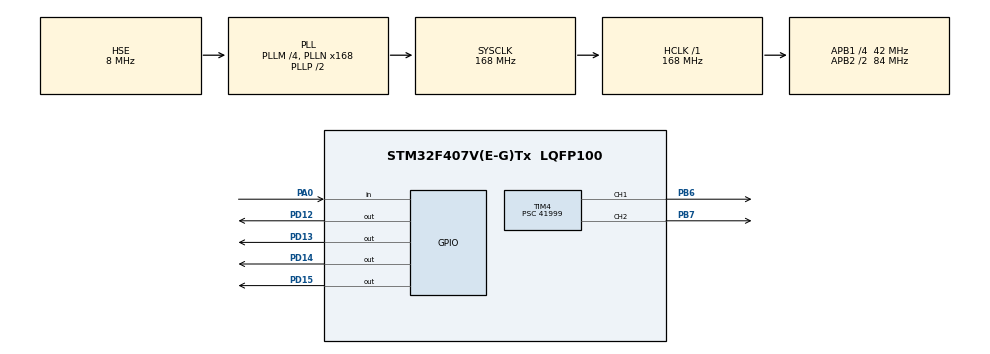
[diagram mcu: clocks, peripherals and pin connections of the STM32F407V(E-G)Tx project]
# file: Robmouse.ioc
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Mcu.Family=STM32F4
Mcu.Name=STM32F407V(E-G)Tx
Mcu.Package=LQFP100
NVIC.FLASH_IRQn=true\:0\:0\:false\:false\:true\:true\:true
NVIC.FPU_IRQn=true\:0\:0\:false\:false\:true\:true\:false
NVIC.PVD_IRQn=true\:0\:0\:false\:false\:true\:true\:true
NVIC.PriorityGroup=NVIC_PRIORITYGROUP_4
NVIC.RCC_IRQn=true\:0\:0\:false\:false\:true\:true\:false
NVIC.TIM4_IRQn=true\:0\:0\:false\:false\:true\:true\:true
PA0-WKUP.Signal=GPIO_Input
PB6.Signal=S_TIM4_CH1
PB7.Signal=S_TIM4_CH2
PD12.Signal=GPIO_Output
PD13.Signal=GPIO_Output
PD14.Signal=GPIO_Output
PD15.Signal=GPIO_Output
PH0-OSC_IN.Mode=HSE-External-Oscillator
PH0-OSC_IN.Signal=RCC_OSC_IN
PH1-OSC_OUT.Mode=HSE-External-Oscillator
PH1-OSC_OUT.Signal=RCC_OSC_OUT
ProjectManager.HeapSize=0x200
ProjectManager.StackSize=0x400
ProjectManager.TargetToolchain=SW4STM32
RCC.48MHZClocksFreq_Value=84000000
RCC.AHBFreq_Value=168000000
RCC.APB1CLKDivider=RCC_HCLK_DIV4
RCC.APB1Freq_Value=42000000
RCC.APB1TimFreq_Value=84000000
RCC.APB2CLKDivider=RCC_HCLK_DIV2
RCC.APB2Freq_Value=84000000
RCC.APB2TimFreq_Value=168000000
RCC.CortexFreq_Value=168000000
RCC.HCLKFreq_Value=168000000
RCC.HSE_VALUE=8000000
RCC.HSI_VALUE=16000000
RCC.LSE_VALUE=32768
RCC.PLLM=4
RCC.PLLN=168
RCC.PLLSourceVirtual=RCC_PLLSOURCE_HSE
RCC.SYSCLKFreq_VALUE=168000000
RCC.SYSCLKSource=RCC_SYSCLKSOURCE_PLLCLK
RCC.VCOOutputFreq_Value=336000000
SH.S_TIM4_CH1.0=TIM4_CH1,PWM Generation1 CH1
SH.S_TIM4_CH2.0=TIM4_CH2,PWM Generation2 CH2
TIM4.Channel-PWM\ Generation1\ CH1=TIM_CHANNEL_1
TIM4.Channel-PWM\ Generation2\ CH2=TIM_CHANNEL_2
TIM4.Period=1999
TIM4.Prescaler=41999
VP_TIM4_VS_ClockSourceINT.Mode=Internal
board=custom

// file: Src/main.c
/* USER CODE BEGIN Header */
/**
  ******************************************************************************
  * @file           : main.c
  * @brief          : Main program body
  ******************************************************************************
  * @attention
  *
  * <h2><center>&copy; Copyright (c) 2019 STMicroelectronics.
  * All rights reserved.</center></h2>
  *
  * This software component is licensed by ST under BSD 3-Clause license,
  * the "License"; You may not use this file except in compliance with the
  * License. You may obtain a copy of the License at:
  *                        opensource.org/licenses/BSD-3-Clause
  *
  ******************************************************************************
  */
/* USER CODE END Header */

#include "main.h"

TIM_HandleTypeDef htim4;

/* USER CODE BEGIN PV */
volatile int value = 0;
volatile int temp = 0;
/* USER CODE END PV */

void SystemClock_Config(void);
static void MX_GPIO_Init(void);
static void MX_TIM4_Init(void);
/* USER CODE BEGIN PFP */

void HAL_TIM_PeriodElapsedCallback(TIM_HandleTypeDef *htim){
       if(htim->Instance == TIM4)
       {

         }
}

/* USER CODE END PFP */

int main(void)
{

  /* MCU Configuration--------------------------------------------------------*/

  /* Reset of all peripherals, Initializes the Flash interface and the Systick. */
  HAL_Init();

  /* Configure the system clock */
  SystemClock_Config();

  /* Initialize all configured peripherals */
  MX_GPIO_Init();
  MX_TIM4_Init();
  /* USER CODE BEGIN 2 */
  HAL_TIM_Base_Start_IT(&htim4);
  HAL_TIM_PWM_Start(&htim4, TIM_CHANNEL_1);
  HAL_TIM_PWM_Start(&htim4, TIM_CHANNEL_2);

  TIM4->CCR1 = 1999;
  TIM4->CCR2 = 1999;
  /* USER CODE END 2 */

  /* Infinite loop */
  /* USER CODE BEGIN WHILE */
  while (1)
  {
	 value = HAL_GPIO_ReadPin(GPIOA, GPIO_PIN_0);
	  if(value==0)
	  {
		  HAL_GPIO_WritePin(GPIOD, GPIO_PIN_12 | GPIO_PIN_15,GPIO_PIN_SET);
		  HAL_GPIO_WritePin(GPIOD, GPIO_PIN_13 | GPIO_PIN_14,GPIO_PIN_RESET);
		  for(int i =0;i<5000000;i++){}
	  }
	  if(value==1)
	  	  {
	  		  HAL_GPIO_WritePin(GPIOD, GPIO_PIN_12 | GPIO_PIN_15, GPIO_PIN_RESET);
	  		  HAL_GPIO_WritePin(GPIOD, GPIO_PIN_13 | GPIO_PIN_14,GPIO_PIN_SET);
	  		  for(int i =0;i<5000000;i++){}
	  	  }
    /* USER CODE END WHILE */

  }
}

void SystemClock_Config(void)
{
  RCC_OscInitTypeDef RCC_OscInitStruct = {0};
  RCC_ClkInitTypeDef RCC_ClkInitStruct = {0};

  /** Configure the main internal regulator output voltage
  */
  __HAL_RCC_PWR_CLK_ENABLE();
  __HAL_PWR_VOLTAGESCALING_CONFIG(PWR_REGULATOR_VOLTAGE_SCALE1);
  /** Initializes the CPU, AHB and APB busses clocks
  */
  RCC_OscInitStruct.OscillatorType = RCC_OSCILLATORTYPE_HSE;
  RCC_OscInitStruct.HSEState = RCC_HSE_ON;
  RCC_OscInitStruct.PLL.PLLState = RCC_PLL_ON;
  RCC_OscInitStruct.PLL.PLLSource = RCC_PLLSOURCE_HSE;
  RCC_OscInitStruct.PLL.PLLM = 4;
  RCC_OscInitStruct.PLL.PLLN = 168;
  RCC_OscInitStruct.PLL.PLLP = RCC_PLLP_DIV2;
  RCC_OscInitStruct.PLL.PLLQ = 4;
  if (HAL_RCC_OscConfig(&RCC_OscInitStruct) != HAL_OK)
  {
    Error_Handler();
  }
  /** Initializes the CPU, AHB and APB busses clocks
  */
  RCC_ClkInitStruct.ClockType = RCC_CLOCKTYPE_HCLK|RCC_CLOCKTYPE_SYSCLK
                              |RCC_CLOCKTYPE_PCLK1|RCC_CLOCKTYPE_PCLK2;
  RCC_ClkInitStruct.SYSCLKSource = RCC_SYSCLKSOURCE_PLLCLK;
  RCC_ClkInitStruct.AHBCLKDivider = RCC_SYSCLK_DIV1;
  RCC_ClkInitStruct.APB1CLKDivider = RCC_HCLK_DIV4;
  RCC_ClkInitStruct.APB2CLKDivider = RCC_HCLK_DIV2;

  if (HAL_RCC_ClockConfig(&RCC_ClkInitStruct, FLASH_LATENCY_5) != HAL_OK)
  {
    Error_Handler();
  }
}

static void MX_TIM4_Init(void)
{

  TIM_ClockConfigTypeDef sClockSourceConfig = {0};
  TIM_MasterConfigTypeDef sMasterConfig = {0};
  TIM_OC_InitTypeDef sConfigOC = {0};

  htim4.Instance = TIM4;
  htim4.Init.Prescaler = 41999;
  htim4.Init.CounterMode = TIM_COUNTERMODE_UP;
  htim4.Init.Period = 1999;
  htim4.Init.ClockDivision = TIM_CLOCKDIVISION_DIV1;
  htim4.Init.AutoReloadPreload = TIM_AUTORELOAD_PRELOAD_DISABLE;
  if (HAL_TIM_Base_Init(&htim4) != HAL_OK)
  {
    Error_Handler();
  }
  sClockSourceConfig.ClockSource = TIM_CLOCKSOURCE_INTERNAL;
  if (HAL_TIM_ConfigClockSource(&htim4, &sClockSourceConfig) != HAL_OK)
  {
    Error_Handler();
  }
  if (HAL_TIM_PWM_Init(&htim4) != HAL_OK)
  {
    Error_Handler();
  }
  sMasterConfig.MasterOutputTrigger = TIM_TRGO_RESET;
  sMasterConfig.MasterSlaveMode = TIM_MASTERSLAVEMODE_DISABLE;
  if (HAL_TIMEx_MasterConfigSynchronization(&htim4, &sMasterConfig) != HAL_OK)
  {
    Error_Handler();
  }
  sConfigOC.OCMode = TIM_OCMODE_PWM1;
  sConfigOC.Pulse = 0;
  sConfigOC.OCPolarity = TIM_OCPOLARITY_HIGH;
  sConfigOC.OCFastMode = TIM_OCFAST_DISABLE;
  if (HAL_TIM_PWM_ConfigChannel(&htim4, &sConfigOC, TIM_CHANNEL_1) != HAL_OK)
  {
    Error_Handler();
  }
  if (HAL_TIM_PWM_ConfigChannel(&htim4, &sConfigOC, TIM_CHANNEL_2) != HAL_OK)
  {
    Error_Handler();
  }
  HAL_TIM_MspPostInit(&htim4);

}

static void MX_GPIO_Init(void)
{
  GPIO_InitTypeDef GPIO_InitStruct = {0};

  /* GPIO Ports Clock Enable */
  __HAL_RCC_GPIOH_CLK_ENABLE();
  __HAL_RCC_GPIOA_CLK_ENABLE();
  __HAL_RCC_GPIOD_CLK_ENABLE();
  __HAL_RCC_GPIOB_CLK_ENABLE();

  /*Configure GPIO pin Output Level */
  HAL_GPIO_WritePin(GPIOD, GPIO_PIN_12|GPIO_PIN_13|GPIO_PIN_14|GPIO_PIN_15, GPIO_PIN_RESET);

  /*Configure GPIO pin : PA0 */
  GPIO_InitStruct.Pin = GPIO_PIN_0;
  GPIO_InitStruct.Mode = GPIO_MODE_INPUT;
  GPIO_InitStruct.Pull = GPIO_NOPULL;
  HAL_GPIO_Init(GPIOA, &GPIO_InitStruct);

  /*Configure GPIO pins : PD12 PD13 PD14 PD15 */
  GPIO_InitStruct.Pin = GPIO_PIN_12|GPIO_PIN_13|GPIO_PIN_14|GPIO_PIN_15;
  GPIO_InitStruct.Mode = GPIO_MODE_OUTPUT_PP;
  GPIO_InitStruct.Pull = GPIO_NOPULL;
  GPIO_InitStruct.Speed = GPIO_SPEED_FREQ_LOW;
  HAL_GPIO_Init(GPIOD, &GPIO_InitStruct);

}

void Error_Handler(void)
{
}

/************************ (C) COPYRIGHT STMicroelectronics *****END OF FILE****/
